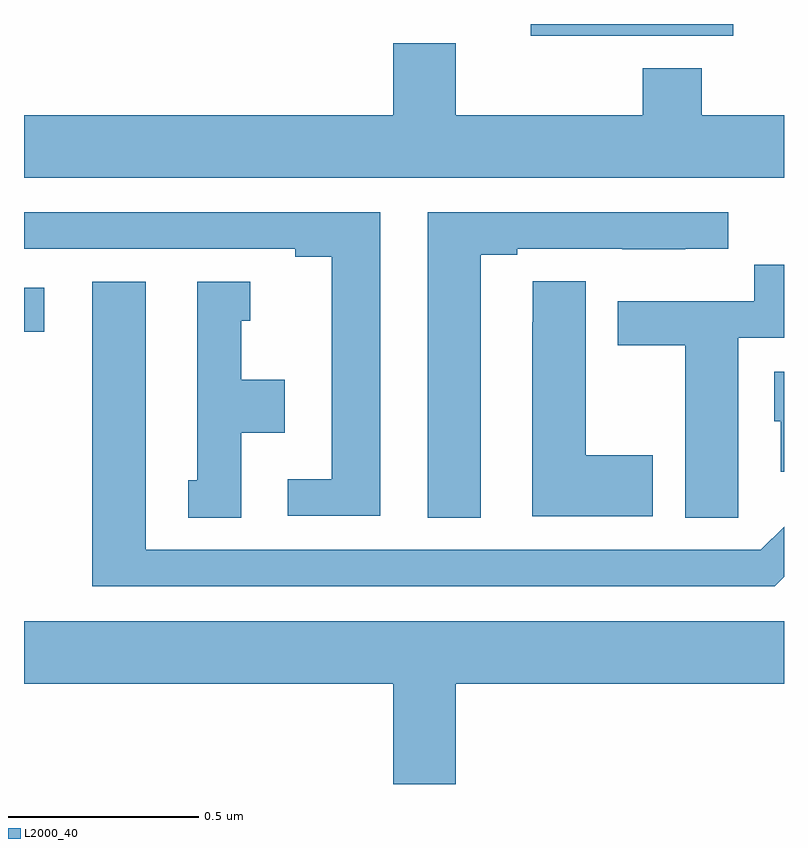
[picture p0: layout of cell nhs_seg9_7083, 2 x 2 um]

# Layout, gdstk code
import gdstk
lib = gdstk.Library(unit=1e-6, precision=1e-09)
def R(c, l, rs):  # rectangles x0, y0, x1, y1
    for r in rs: c.add(gdstk.rectangle(r[:2], r[2:], *l))
def P(c, l, *ps):  # polygons
    for p in ps: c.add(gdstk.Polygon(p, *l))
L2000_40 = (2000, 40)

nhs_seg9_7083 = lib.new_cell('nhs_seg9_7083')
R(nhs_seg9_7083, L2000_40, [(200,1186.69,200.053,1186.806), (201.333,1187.469,201.867,1187.5)])
P(nhs_seg9_7083, L2000_40, [(202,1187.26),(201.783,1187.26),(201.783,1187.384),(201.628,1187.384),(201.628,1187.26),(201.136,1187.26),(201.136,1187.449),(200.972,1187.449),(200.972,1187.26),(200,1187.26),(200,1187.096),(202,1187.096)],
  [(200.938,1187.004),(200,1187.004),(200,1186.908),(200.714,1186.908),(200.714,1186.888),(200.81,1186.888),(200.81,1186.302),(200.694,1186.302),(200.694,1186.206),(200.938,1186.206)],
  [(201.202,1186.893),(201.298,1186.893),(201.298,1186.908),(201.574,1186.908),(201.574,1186.907),(201.74,1186.907),(201.74,1186.908),(201.853,1186.908),(201.853,1187.004),(201.062,1187.004),(201.062,1186.201),(201.202,1186.201)],
  [(201.879,1186.312),(201.88,1186.312),(201.88,1186.674),(202,1186.674),(202,1186.867),(201.922,1186.867),(201.922,1186.77),(201.563,1186.77),(201.563,1186.654),(201.74,1186.654),(201.74,1186.201),(201.879,1186.201)],
  [(201.655,1186.365),(201.478,1186.365),(201.478,1186.823),(201.339,1186.823),(201.339,1186.715),(201.338,1186.715),(201.338,1186.205),(201.655,1186.205)],
  [(200.572,1186.424),(200.686,1186.424),(200.686,1186.564),(200.572,1186.564),(200.572,1186.719),(200.596,1186.719),(200.596,1186.822),(200.456,1186.822),(200.456,1186.299),(200.432,1186.299),(200.432,1186.201),(200.572,1186.201)],
  [(202,1186.045),(202,1186.177),(201.939,1186.116),(200.32,1186.116),(200.32,1186.822),(200.18,1186.822),(200.18,1186.02),(201.975,1186.02)],
  [(202,1186.585),(201.974,1186.585),(201.974,1186.455),(201.992,1186.455),(201.992,1186.322),(202,1186.322)],
  [(201.136,1185.764),(202,1185.764),(202,1185.928),(200,1185.928),(200,1185.764),(200.972,1185.764),(200.972,1185.5),(201.136,1185.5)])

lib.write_gds('nhs_seg9_7083.gds')
